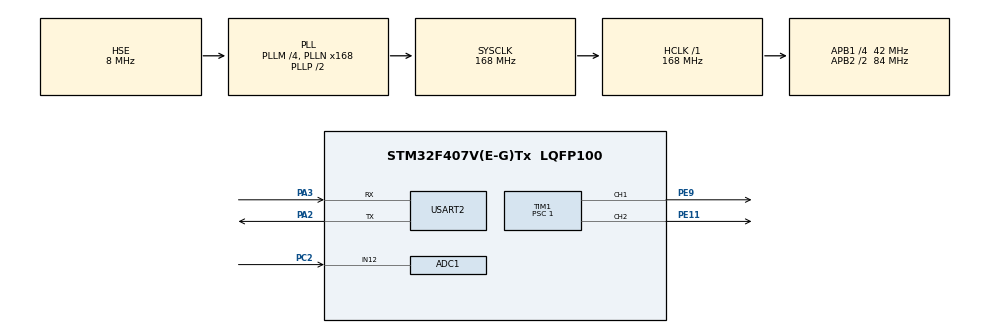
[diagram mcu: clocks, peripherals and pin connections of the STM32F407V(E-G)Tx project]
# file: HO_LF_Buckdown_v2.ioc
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ADC1.Channel-1\#ChannelRegularConversion=ADC_CHANNEL_12
ADC1.ContinuousConvMode=DISABLE
ADC1.NbrOfConversionFlag=1
ADC1.Rank-1\#ChannelRegularConversion=1
ADC1.SamplingTime-1\#ChannelRegularConversion=ADC_SAMPLETIME_84CYCLES
ADC1.master=1
Dma.Request0=USART2_RX
Dma.Request1=USART2_TX
Dma.USART2_RX.0.Direction=DMA_PERIPH_TO_MEMORY
Dma.USART2_RX.0.FIFOMode=DMA_FIFOMODE_DISABLE
Dma.USART2_RX.0.Instance=DMA1_Stream5
Dma.USART2_RX.0.MemDataAlignment=DMA_MDATAALIGN_BYTE
Dma.USART2_RX.0.MemInc=DMA_MINC_ENABLE
Dma.USART2_RX.0.Mode=DMA_NORMAL
Dma.USART2_RX.0.PeriphDataAlignment=DMA_PDATAALIGN_BYTE
Dma.USART2_RX.0.PeriphInc=DMA_PINC_DISABLE
Dma.USART2_RX.0.Priority=DMA_PRIORITY_LOW
Dma.USART2_TX.1.Direction=DMA_MEMORY_TO_PERIPH
Dma.USART2_TX.1.FIFOMode=DMA_FIFOMODE_DISABLE
Dma.USART2_TX.1.Instance=DMA1_Stream6
Dma.USART2_TX.1.MemDataAlignment=DMA_MDATAALIGN_BYTE
Dma.USART2_TX.1.MemInc=DMA_MINC_ENABLE
Dma.USART2_TX.1.Mode=DMA_NORMAL
Dma.USART2_TX.1.PeriphDataAlignment=DMA_PDATAALIGN_BYTE
Dma.USART2_TX.1.PeriphInc=DMA_PINC_DISABLE
Dma.USART2_TX.1.Priority=DMA_PRIORITY_LOW
Mcu.Family=STM32F4
Mcu.Name=STM32F407V(E-G)Tx
Mcu.Package=LQFP100
NVIC.DMA1_Stream5_IRQn=true\:0\:0\:false\:false\:true\:false\:true\:true
NVIC.DMA1_Stream6_IRQn=true\:0\:0\:false\:false\:true\:false\:true\:true
NVIC.PriorityGroup=NVIC_PRIORITYGROUP_4
NVIC.USART2_IRQn=true\:0\:0\:false\:false\:true\:true\:true\:true
PA2.Mode=Asynchronous
PA2.Signal=USART2_TX
PA3.Mode=Asynchronous
PA3.Signal=USART2_RX
PC2.Signal=ADCx_IN12
PE11.Signal=S_TIM1_CH2
PE9.GPIO_PuPd=GPIO_NOPULL
PE9.GPIO_Speed=GPIO_SPEED_FREQ_HIGH
PE9.Signal=S_TIM1_CH1
PH0-OSC_IN.Mode=HSE-External-Oscillator
PH0-OSC_IN.Signal=RCC_OSC_IN
PH1-OSC_OUT.Mode=HSE-External-Oscillator
PH1-OSC_OUT.Signal=RCC_OSC_OUT
ProjectManager.HeapSize=0x200
ProjectManager.StackSize=0x400
ProjectManager.TargetToolchain=STM32CubeIDE
RCC.48MHZClocksFreq_Value=84000000
RCC.AHBFreq_Value=168000000
RCC.APB1CLKDivider=RCC_HCLK_DIV4
RCC.APB1Freq_Value=42000000
RCC.APB1TimFreq_Value=84000000
RCC.APB2CLKDivider=RCC_HCLK_DIV2
RCC.APB2Freq_Value=84000000
RCC.APB2TimFreq_Value=168000000
RCC.CortexFreq_Value=168000000
RCC.EnbaleCSS=true
RCC.HCLKFreq_Value=168000000
RCC.HSE_VALUE=8000000
RCC.HSI_VALUE=16000000
RCC.LSE_VALUE=32768
RCC.PLLM=4
RCC.PLLN=168
RCC.PLLSourceVirtual=RCC_PLLSOURCE_HSE
RCC.SYSCLKFreq_VALUE=168000000
RCC.SYSCLKSource=RCC_SYSCLKSOURCE_PLLCLK
RCC.VCOOutputFreq_Value=336000000
SH.ADCx_IN12.0=ADC1_IN12,IN12
SH.S_TIM1_CH1.0=TIM1_CH1,PWM Generation1 CH1
SH.S_TIM1_CH2.0=TIM1_CH2,PWM Generation2 CH2
TIM1.AutoReloadPreload=TIM_AUTORELOAD_PRELOAD_ENABLE
TIM1.Channel-PWM\ Generation1\ CH1=TIM_CHANNEL_1
TIM1.Channel-PWM\ Generation2\ CH2=TIM_CHANNEL_2
TIM1.OCFastMode_PWM-PWM\ Generation1\ CH1=TIM_OCFAST_DISABLE
TIM1.Period=820-1
TIM1.Prescaler=1
USART2.VirtualMode=VM_ASYNC
VP_TIM1_VS_ClockSourceINT.Mode=Internal
board=custom

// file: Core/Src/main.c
/* USER CODE BEGIN Header */
/**
  ******************************************************************************
  * @file           : main.c
  * @brief          : Main program body
  ******************************************************************************
  * @attention
  *
  * Copyright (c) 2026 STMicroelectronics.
  * All rights reserved.
  *
  * This software is licensed under terms that can be found in the LICENSE file
  * in the root directory of this software component.
  * If no LICENSE file comes with this software, it is provided AS-IS.
  *
  ******************************************************************************
  */
/* USER CODE END Header */
#include "main.h"

ADC_HandleTypeDef hadc1;

TIM_HandleTypeDef htim1;

UART_HandleTypeDef huart2;
DMA_HandleTypeDef hdma_usart2_rx;
DMA_HandleTypeDef hdma_usart2_tx;

/* USER CODE BEGIN PV */

bool new_USART2_message = false;

/* USER CODE END PV */

void SystemClock_Config(void);
static void MX_GPIO_Init(void);
static void MX_DMA_Init(void);
static void MX_TIM1_Init(void);
static void MX_USART2_UART_Init(void);
static void MX_ADC1_Init(void);

int main(void)
{

  /* MCU Configuration--------------------------------------------------------*/

  /* Reset of all peripherals, Initializes the Flash interface and the Systick. */
  HAL_Init();

  /* Configure the system clock */
  SystemClock_Config();

  /* Initialize all configured peripherals */
  MX_GPIO_Init();
  MX_DMA_Init();
  MX_TIM1_Init();
  MX_USART2_UART_Init();
  MX_ADC1_Init();
  /* USER CODE BEGIN 2 */

  HAL_TIM_PWM_Start(&htim1, TIM_CHANNEL_1);
  HAL_TIM_PWM_Start(&htim1, TIM_CHANNEL_2);
  set_PWM_duty(&htim1, TIM_CHANNEL_1, 0.0f);
  set_PWM_duty(&htim1, TIM_CHANNEL_2, 0.5f);

  uint8_t debug_string[debug_string_len];
  uint8_t UART_Rx_buf[16] = {0};
  uint32_t adc_value[ADC_MAF_length];								// This value is outside of while(1) loop so we still have value in case of an ADC timeout.

  struct pid_output_type pid_output;
  float voltage_setpoint = boost_start_V;

  HAL_UARTEx_ReceiveToIdle_DMA(&huart2, UART_Rx_buf, 16);
  /* USER CODE END 2 */

  /* Infinite loop */
  /* USER CODE BEGIN WHILE */
  while (1)
  {

	// Get new ADC value
	if (HAL_ADC_Start(&hadc1) == HAL_OK &&
	HAL_ADC_PollForConversion(&hadc1, 100) == HAL_OK)	// Give the ADC 100ms to convert.
	{
		for (int i = ADC_MAF_length - 1; i > 0; i--) {
			adc_value[i] = adc_value[i - 1];
		}
		adc_value[0] = HAL_ADC_GetValue(&hadc1);
	}
	HAL_ADC_Stop(&hadc1);

	float adc_sum = 0;
	for (int i = 0; i < ADC_MAF_length; i++) {
		adc_sum += adc_value[i];
	}

	float adc_avr = adc_sum / ADC_MAF_length;

	float adc_voltage = ADC_to_V(adc_avr);

	// Run the PID controller
	pid_output = run_PID(adc_voltage, voltage_setpoint);

//	set_PWM_duty(&htim1, TIM_CHANNEL_1, pid_output.ret + (1-(3/voltage_setpoint)));
	set_PWM_duty(&htim1, TIM_CHANNEL_1, pid_output.ret);

  // Temporarily replace the PID output
  // set_PWM_duty(&htim1, TIM_CHANNEL_1, 0.01f);

	// Debug output
	if (ENABLE_OUTPUT) {
		memset(debug_string, 0, debug_string_len);
		snprintf((char*)debug_string, debug_string_len, "\nADC value:\t %u (%f V)\nPID output:\n\t P:\t%f\n\t I:\t%f\n\t D:\t%f\n\t i_sum:\t%f\n\t ret:\t%f\n\t setpoint:\t%f\n\t error: \t%f\n", (unsigned int)adc_value, adc_voltage, pid_output.p, pid_output.i, pid_output.d, pid_output.e_sum, pid_output.ret, voltage_setpoint, (voltage_setpoint - adc_voltage));	 // Format debug string
		HAL_UART_Transmit_DMA(&huart2, debug_string, debug_string_len); // Transmit debug string
	}																		// Clear debug string

	// Change voltage_setpoint upon receiving new USART message
	if (new_USART2_message)
	{
		voltage_setpoint = atof((char*)UART_Rx_buf);

		voltage_setpoint = fmin(fmax(voltage_setpoint, 0), boost_max_V);			// Remove below-zero values, and values above

		memset(debug_string, 0, debug_string_len);
		snprintf((char*)debug_string, debug_string_len, "New voltage setpoint:\t %f", voltage_setpoint);		// Format debug string
		HAL_UART_Transmit_DMA(&huart2, debug_string, debug_string_len);										// Transmit debug string
																		// Clear debug string

		// reset the new_USART_2_message variable, buffer, and recieve a new message, and disable half transfer interrupt again.
		memset(UART_Rx_buf, 0, 16);
		new_USART2_message = false;
		HAL_UARTEx_ReceiveToIdle_DMA(&huart2, UART_Rx_buf, 16);

//		HAL_Delay(2000);
	}

//	HAL_Delay(50);				// TODO change to logical value / delete
    /* USER CODE END WHILE */

  }
}

void SystemClock_Config(void)
{
  RCC_OscInitTypeDef RCC_OscInitStruct = {0};
  RCC_ClkInitTypeDef RCC_ClkInitStruct = {0};

  /** Configure the main internal regulator output voltage
  */
  __HAL_RCC_PWR_CLK_ENABLE();
  __HAL_PWR_VOLTAGESCALING_CONFIG(PWR_REGULATOR_VOLTAGE_SCALE1);

  /** Initializes the RCC Oscillators according to the specified parameters
  * in the RCC_OscInitTypeDef structure.
  */
  RCC_OscInitStruct.OscillatorType = RCC_OSCILLATORTYPE_HSE;
  RCC_OscInitStruct.HSEState = RCC_HSE_ON;
  RCC_OscInitStruct.PLL.PLLState = RCC_PLL_ON;
  RCC_OscInitStruct.PLL.PLLSource = RCC_PLLSOURCE_HSE;
  RCC_OscInitStruct.PLL.PLLM = 4;
  RCC_OscInitStruct.PLL.PLLN = 168;
  RCC_OscInitStruct.PLL.PLLP = RCC_PLLP_DIV2;
  RCC_OscInitStruct.PLL.PLLQ = 4;
  if (HAL_RCC_OscConfig(&RCC_OscInitStruct) != HAL_OK)
  {
    Error_Handler();
  }

  /** Initializes the CPU, AHB and APB buses clocks
  */
  RCC_ClkInitStruct.ClockType = RCC_CLOCKTYPE_HCLK|RCC_CLOCKTYPE_SYSCLK
                              |RCC_CLOCKTYPE_PCLK1|RCC_CLOCKTYPE_PCLK2;
  RCC_ClkInitStruct.SYSCLKSource = RCC_SYSCLKSOURCE_PLLCLK;
  RCC_ClkInitStruct.AHBCLKDivider = RCC_SYSCLK_DIV1;
  RCC_ClkInitStruct.APB1CLKDivider = RCC_HCLK_DIV4;
  RCC_ClkInitStruct.APB2CLKDivider = RCC_HCLK_DIV2;

  if (HAL_RCC_ClockConfig(&RCC_ClkInitStruct, FLASH_LATENCY_5) != HAL_OK)
  {
    Error_Handler();
  }

  /** Enables the Clock Security System
  */
  HAL_RCC_EnableCSS();
}

static void MX_ADC1_Init(void)
{

  ADC_ChannelConfTypeDef sConfig = {0};

  /** Configure the global features of the ADC (Clock, Resolution, Data Alignment and number of conversion)
  */
  hadc1.Instance = ADC1;
  hadc1.Init.ClockPrescaler = ADC_CLOCK_SYNC_PCLK_DIV4;
  hadc1.Init.Resolution = ADC_RESOLUTION_12B;
  hadc1.Init.ScanConvMode = DISABLE;
  hadc1.Init.ContinuousConvMode = DISABLE;
  hadc1.Init.DiscontinuousConvMode = DISABLE;
  hadc1.Init.ExternalTrigConvEdge = ADC_EXTERNALTRIGCONVEDGE_NONE;
  hadc1.Init.ExternalTrigConv = ADC_SOFTWARE_START;
  hadc1.Init.DataAlign = ADC_DATAALIGN_RIGHT;
  hadc1.Init.NbrOfConversion = 1;
  hadc1.Init.DMAContinuousRequests = DISABLE;
  hadc1.Init.EOCSelection = ADC_EOC_SINGLE_CONV;
  if (HAL_ADC_Init(&hadc1) != HAL_OK)
  {
    Error_Handler();
  }

  /** Configure for the selected ADC regular channel its corresponding rank in the sequencer and its sample time.
  */
  sConfig.Channel = ADC_CHANNEL_12;
  sConfig.Rank = 1;
  sConfig.SamplingTime = ADC_SAMPLETIME_84CYCLES;
  if (HAL_ADC_ConfigChannel(&hadc1, &sConfig) != HAL_OK)
  {
    Error_Handler();
  }

}

static void MX_TIM1_Init(void)
{

  TIM_ClockConfigTypeDef sClockSourceConfig = {0};
  TIM_MasterConfigTypeDef sMasterConfig = {0};
  TIM_OC_InitTypeDef sConfigOC = {0};
  TIM_BreakDeadTimeConfigTypeDef sBreakDeadTimeConfig = {0};

  htim1.Instance = TIM1;
  htim1.Init.Prescaler = 1;
  htim1.Init.CounterMode = TIM_COUNTERMODE_UP;
  htim1.Init.Period = 820-1;
  htim1.Init.ClockDivision = TIM_CLOCKDIVISION_DIV1;
  htim1.Init.RepetitionCounter = 0;
  htim1.Init.AutoReloadPreload = TIM_AUTORELOAD_PRELOAD_ENABLE;
  if (HAL_TIM_Base_Init(&htim1) != HAL_OK)
  {
    Error_Handler();
  }
  sClockSourceConfig.ClockSource = TIM_CLOCKSOURCE_INTERNAL;
  if (HAL_TIM_ConfigClockSource(&htim1, &sClockSourceConfig) != HAL_OK)
  {
    Error_Handler();
  }
  if (HAL_TIM_PWM_Init(&htim1) != HAL_OK)
  {
    Error_Handler();
  }
  sMasterConfig.MasterOutputTrigger = TIM_TRGO_RESET;
  sMasterConfig.MasterSlaveMode = TIM_MASTERSLAVEMODE_DISABLE;
  if (HAL_TIMEx_MasterConfigSynchronization(&htim1, &sMasterConfig) != HAL_OK)
  {
    Error_Handler();
  }
  sConfigOC.OCMode = TIM_OCMODE_PWM1;
  sConfigOC.Pulse = 0;
  sConfigOC.OCPolarity = TIM_OCPOLARITY_HIGH;
  sConfigOC.OCNPolarity = TIM_OCNPOLARITY_HIGH;
  sConfigOC.OCFastMode = TIM_OCFAST_DISABLE;
  sConfigOC.OCIdleState = TIM_OCIDLESTATE_RESET;
  sConfigOC.OCNIdleState = TIM_OCNIDLESTATE_RESET;
  if (HAL_TIM_PWM_ConfigChannel(&htim1, &sConfigOC, TIM_CHANNEL_1) != HAL_OK)
  {
    Error_Handler();
  }
  if (HAL_TIM_PWM_ConfigChannel(&htim1, &sConfigOC, TIM_CHANNEL_2) != HAL_OK)
  {
    Error_Handler();
  }
  sBreakDeadTimeConfig.OffStateRunMode = TIM_OSSR_DISABLE;
  sBreakDeadTimeConfig.OffStateIDLEMode = TIM_OSSI_DISABLE;
  sBreakDeadTimeConfig.LockLevel = TIM_LOCKLEVEL_OFF;
  sBreakDeadTimeConfig.DeadTime = 0;
  sBreakDeadTimeConfig.BreakState = TIM_BREAK_DISABLE;
  sBreakDeadTimeConfig.BreakPolarity = TIM_BREAKPOLARITY_HIGH;
  sBreakDeadTimeConfig.AutomaticOutput = TIM_AUTOMATICOUTPUT_DISABLE;
  if (HAL_TIMEx_ConfigBreakDeadTime(&htim1, &sBreakDeadTimeConfig) != HAL_OK)
  {
    Error_Handler();
  }
  HAL_TIM_MspPostInit(&htim1);

}

static void MX_USART2_UART_Init(void)
{

  huart2.Instance = USART2;
  huart2.Init.BaudRate = 115200;
  huart2.Init.WordLength = UART_WORDLENGTH_8B;
  huart2.Init.StopBits = UART_STOPBITS_1;
  huart2.Init.Parity = UART_PARITY_NONE;
  huart2.Init.Mode = UART_MODE_TX_RX;
  huart2.Init.HwFlowCtl = UART_HWCONTROL_NONE;
  huart2.Init.OverSampling = UART_OVERSAMPLING_16;
  if (HAL_UART_Init(&huart2) != HAL_OK)
  {
    Error_Handler();
  }

}

static void MX_DMA_Init(void)
{

  /* DMA controller clock enable */
  __HAL_RCC_DMA1_CLK_ENABLE();

  /* DMA interrupt init */
  /* DMA1_Stream5_IRQn interrupt configuration */
  HAL_NVIC_SetPriority(DMA1_Stream5_IRQn, 0, 0);
  HAL_NVIC_EnableIRQ(DMA1_Stream5_IRQn);
  /* DMA1_Stream6_IRQn interrupt configuration */
  HAL_NVIC_SetPriority(DMA1_Stream6_IRQn, 0, 0);
  HAL_NVIC_EnableIRQ(DMA1_Stream6_IRQn);

}

static void MX_GPIO_Init(void)
{

  /* GPIO Ports Clock Enable */
  __HAL_RCC_GPIOH_CLK_ENABLE();
  __HAL_RCC_GPIOC_CLK_ENABLE();
  __HAL_RCC_GPIOA_CLK_ENABLE();
  __HAL_RCC_GPIOE_CLK_ENABLE();

}

/* USER CODE BEGIN 4 */

// A simple function which sets the duty cycle of timer 8 channel 1.
// @author Fabian Meijneken
// @param duty Specifies the desired duty cycle. This is expressed as a value between 0 and 1.
void set_PWM_duty(TIM_HandleTypeDef *htim, uint32_t channel, float duty)
{
    // Clamp the duty between 0 and 1 using ternary operators
    duty = (duty > MAX_DUTY) ? MAX_DUTY : duty;
    duty = (duty < 0.0f) ? 0.0f : duty;

    // Calculate the compare value dynamically using the timer instance's ARR
    __HAL_TIM_SET_COMPARE(htim, channel, (uint32_t)(htim->Instance->ARR * duty));
}

float ADC_to_V(int adc_value)
{
	float voltage = (float)adc_value / (float)4095 * V_max_ADC;
	voltage = voltage * (V_divider + V_offset);
	return voltage;
}

// UART2 Rx DMA callback.
// @author Fabian Meijneken
void HAL_UARTEx_RxEventCallback(UART_HandleTypeDef *huart, uint16_t Size)
{
	if (huart->Instance == USART2)
	{
		new_USART2_message = true;
	}
}

/* USER CODE END 4 */

void Error_Handler(void)
{
  __disable_irq();
  while (1)
  {
  }
}
